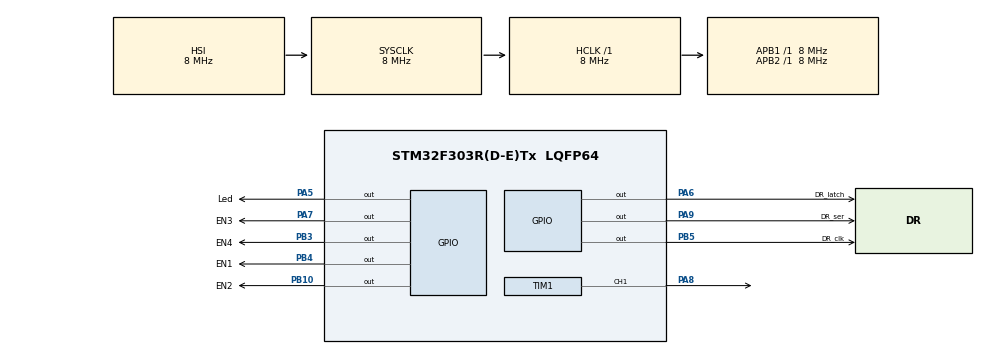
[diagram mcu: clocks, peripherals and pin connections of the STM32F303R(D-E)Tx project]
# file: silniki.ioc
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Mcu.Family=STM32F3
Mcu.Name=STM32F303R(D-E)Tx
Mcu.Package=LQFP64
NVIC.PriorityGroup=NVIC_PRIORITYGROUP_4
PA5.GPIO_Label=Led
PA5.Signal=GPIO_Output
PA6.GPIO_Label=DR_latch
PA6.Signal=GPIO_Output
PA7.GPIO_Label=EN3
PA7.Signal=GPIO_Output
PA8.Signal=S_TIM1_CH1
PA9.GPIO_Label=DR_ser
PA9.Signal=GPIO_Output
PB10.GPIO_Label=EN2
PB10.Signal=GPIO_Output
PB3.GPIO_Label=EN4
PB3.Signal=GPIO_Output
PB4.GPIO_Label=EN1
PB4.Signal=GPIO_Output
PB5.GPIO_Label=DR_clk
PB5.Signal=GPIO_Output
ProjectManager.HeapSize=0x200
ProjectManager.StackSize=0x400
ProjectManager.TargetToolchain=STM32CubeIDE
RCC.AHBFreq_Value=8000000
RCC.APB1Freq_Value=8000000
RCC.APB1TimFreq_Value=8000000
RCC.APB2Freq_Value=8000000
RCC.APB2TimFreq_Value=8000000
RCC.CortexFreq_Value=8000000
RCC.HCLKFreq_Value=8000000
RCC.HSE_VALUE=8000000
RCC.HSI_VALUE=8000000
RCC.LSE_VALUE=32768
RCC.PLLMUL=RCC_PLL_MUL4
RCC.SYSCLKFreq_VALUE=8000000
RCC.USBFreq_Value=32000000
SH.S_TIM1_CH1.0=TIM1_CH1,Output Compare1 CH1
TIM1.Channel-Output\ Compare1\ CH1=TIM_CHANNEL_1
TIM1.Prescaler=4
VP_TIM1_VS_ClockSourceINT.Mode=Internal
board=custom

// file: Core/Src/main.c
/* USER CODE BEGIN Header */
/**
  ******************************************************************************
  * @file           : main.c
  * @brief          : Main program body
  ******************************************************************************
  * @attention
  *
  * Copyright (c) 2025 STMicroelectronics.
  * All rights reserved.
  *
  * This software is licensed under terms that can be found in the LICENSE file
  * in the root directory of this software component.
  * If no LICENSE file comes with this software, it is provided AS-IS.
  *
  ******************************************************************************
  */
/* USER CODE END Header */
#include "main.h"

/* USER CODE BEGIN Includes */
#include "stm32f3xx_it.h"
/* USER CODE END Includes */

TIM_HandleTypeDef htim1;

void SystemClock_Config(void);
static void MX_GPIO_Init(void);
static void MX_TIM1_Init(void);
/* USER CODE BEGIN PFP */
void MotorPow(uint8_t P){
	if(P<101 ){
		TIM1->CCR1 = 100-P;

	}
}

/* 8-bit

Motpr	3a |	2a |	1a |	1b |	2b |	4a |	3b |	4b
-----------------------------------------------------------------------
np.		1  |	 1 |	 1 |	 0 |	 0 |	 1 |	 0 |	 0		= 0xE4 lub 228  silniki krecą się w jedną stronę

	0xE4 - do przodu, 0x1B - do tyłu, 0xA9 - obrót w lewo, 0x56 - obrót w prawo, 0x9C - w lewo, 0x63 - w prawo
*/
void ustawKier(uint8_t data){
	for(int i = 0; i < 8; i++){

		HAL_GPIO_WritePin(DR_clk_GPIO_Port, DR_clk_Pin, 0);
		HAL_GPIO_WritePin(DR_ser_GPIO_Port, DR_ser_Pin, data & ( 1 << i));
		HAL_GPIO_WritePin(DR_clk_GPIO_Port, DR_clk_Pin, 1);
	}
}
/* USER CODE END PFP */

int main(void)
{

  /* MCU Configuration--------------------------------------------------------*/

  /* Reset of all peripherals, Initializes the Flash interface and the Systick. */
  HAL_Init();

  /* Configure the system clock */
  SystemClock_Config();

  /* Initialize all configured peripherals */
  MX_GPIO_Init();
  MX_TIM1_Init();
  /* USER CODE BEGIN 2 */
  HAL_TIM_PWM_Start(&htim1, TIM_CHANNEL_1);

  /* USER CODE END 2 */

  /* Infinite loop */
  /* USER CODE BEGIN WHILE */

  HAL_GPIO_WritePin(DR_latch_GPIO_Port, DR_latch_Pin, 0);
  ustawKier(0x00);
  HAL_GPIO_WritePin(DR_latch_GPIO_Port, DR_latch_Pin, 1);

  MotorPow(80);

  HAL_GPIO_WritePin(EN1_GPIO_Port, EN1_Pin, 1);
  HAL_GPIO_WritePin(EN2_GPIO_Port, EN2_Pin, 1);
  HAL_GPIO_WritePin(EN3_GPIO_Port, EN3_Pin, 1);
  HAL_GPIO_WritePin(EN4_GPIO_Port, EN4_Pin, 1);

uint8_t sekwencja[6] = {0xE4, 0x1B, 0xA9, 0x56, 0x9C, 0x63};
uint8_t stan=0;
  while (1)
  {
	  if(stan<3){
		  for(int i=0; i<6; i++){
			  HAL_GPIO_WritePin(DR_latch_GPIO_Port, DR_latch_Pin, 0);
			  ustawKier(sekwencja[i]);
			  HAL_GPIO_WritePin(DR_latch_GPIO_Port, DR_latch_Pin, 1);
			  HAL_Delay(2500);
		  }
		  stan++;
	  }else{
		  HAL_GPIO_WritePin(DR_latch_GPIO_Port, DR_latch_Pin, 0);
		  ustawKier(0x00);
		  HAL_GPIO_WritePin(DR_latch_GPIO_Port, DR_latch_Pin, 1);

	  }

    /* USER CODE END WHILE */

  }
}

void SystemClock_Config(void)
{
  RCC_OscInitTypeDef RCC_OscInitStruct = {0};
  RCC_ClkInitTypeDef RCC_ClkInitStruct = {0};
  RCC_PeriphCLKInitTypeDef PeriphClkInit = {0};

  /** Initializes the RCC Oscillators according to the specified parameters
  * in the RCC_OscInitTypeDef structure.
  */
  RCC_OscInitStruct.OscillatorType = RCC_OSCILLATORTYPE_HSI;
  RCC_OscInitStruct.HSIState = RCC_HSI_ON;
  RCC_OscInitStruct.HSICalibrationValue = RCC_HSICALIBRATION_DEFAULT;
  RCC_OscInitStruct.PLL.PLLState = RCC_PLL_NONE;
  if (HAL_RCC_OscConfig(&RCC_OscInitStruct) != HAL_OK)
  {
    Error_Handler();
  }

  /** Initializes the CPU, AHB and APB buses clocks
  */
  RCC_ClkInitStruct.ClockType = RCC_CLOCKTYPE_HCLK|RCC_CLOCKTYPE_SYSCLK
                              |RCC_CLOCKTYPE_PCLK1|RCC_CLOCKTYPE_PCLK2;
  RCC_ClkInitStruct.SYSCLKSource = RCC_SYSCLKSOURCE_HSI;
  RCC_ClkInitStruct.AHBCLKDivider = RCC_SYSCLK_DIV1;
  RCC_ClkInitStruct.APB1CLKDivider = RCC_HCLK_DIV1;
  RCC_ClkInitStruct.APB2CLKDivider = RCC_HCLK_DIV1;

  if (HAL_RCC_ClockConfig(&RCC_ClkInitStruct, FLASH_LATENCY_0) != HAL_OK)
  {
    Error_Handler();
  }
  PeriphClkInit.PeriphClockSelection = RCC_PERIPHCLK_TIM1;
  PeriphClkInit.Tim1ClockSelection = RCC_TIM1CLK_HCLK;
  if (HAL_RCCEx_PeriphCLKConfig(&PeriphClkInit) != HAL_OK)
  {
    Error_Handler();
  }
}

static void MX_TIM1_Init(void)
{

  TIM_ClockConfigTypeDef sClockSourceConfig = {0};
  TIM_MasterConfigTypeDef sMasterConfig = {0};
  TIM_OC_InitTypeDef sConfigOC = {0};
  TIM_BreakDeadTimeConfigTypeDef sBreakDeadTimeConfig = {0};

  htim1.Instance = TIM1;
  htim1.Init.Prescaler = 4;
  htim1.Init.CounterMode = TIM_COUNTERMODE_UP;
  htim1.Init.Period = 65535;
  htim1.Init.ClockDivision = TIM_CLOCKDIVISION_DIV1;
  htim1.Init.RepetitionCounter = 0;
  htim1.Init.AutoReloadPreload = TIM_AUTORELOAD_PRELOAD_DISABLE;
  if (HAL_TIM_Base_Init(&htim1) != HAL_OK)
  {
    Error_Handler();
  }
  sClockSourceConfig.ClockSource = TIM_CLOCKSOURCE_INTERNAL;
  if (HAL_TIM_ConfigClockSource(&htim1, &sClockSourceConfig) != HAL_OK)
  {
    Error_Handler();
  }
  if (HAL_TIM_OC_Init(&htim1) != HAL_OK)
  {
    Error_Handler();
  }
  sMasterConfig.MasterOutputTrigger = TIM_TRGO_RESET;
  sMasterConfig.MasterOutputTrigger2 = TIM_TRGO2_RESET;
  sMasterConfig.MasterSlaveMode = TIM_MASTERSLAVEMODE_DISABLE;
  if (HAL_TIMEx_MasterConfigSynchronization(&htim1, &sMasterConfig) != HAL_OK)
  {
    Error_Handler();
  }
  sConfigOC.OCMode = TIM_OCMODE_TIMING;
  sConfigOC.Pulse = 0;
  sConfigOC.OCPolarity = TIM_OCPOLARITY_HIGH;
  sConfigOC.OCNPolarity = TIM_OCNPOLARITY_HIGH;
  sConfigOC.OCFastMode = TIM_OCFAST_DISABLE;
  sConfigOC.OCIdleState = TIM_OCIDLESTATE_RESET;
  sConfigOC.OCNIdleState = TIM_OCNIDLESTATE_RESET;
  if (HAL_TIM_OC_ConfigChannel(&htim1, &sConfigOC, TIM_CHANNEL_1) != HAL_OK)
  {
    Error_Handler();
  }
  sBreakDeadTimeConfig.OffStateRunMode = TIM_OSSR_DISABLE;
  sBreakDeadTimeConfig.OffStateIDLEMode = TIM_OSSI_DISABLE;
  sBreakDeadTimeConfig.LockLevel = TIM_LOCKLEVEL_OFF;
  sBreakDeadTimeConfig.DeadTime = 0;
  sBreakDeadTimeConfig.BreakState = TIM_BREAK_DISABLE;
  sBreakDeadTimeConfig.BreakPolarity = TIM_BREAKPOLARITY_HIGH;
  sBreakDeadTimeConfig.BreakFilter = 0;
  sBreakDeadTimeConfig.Break2State = TIM_BREAK2_DISABLE;
  sBreakDeadTimeConfig.Break2Polarity = TIM_BREAK2POLARITY_HIGH;
  sBreakDeadTimeConfig.Break2Filter = 0;
  sBreakDeadTimeConfig.AutomaticOutput = TIM_AUTOMATICOUTPUT_DISABLE;
  if (HAL_TIMEx_ConfigBreakDeadTime(&htim1, &sBreakDeadTimeConfig) != HAL_OK)
  {
    Error_Handler();
  }
  HAL_TIM_MspPostInit(&htim1);

}

static void MX_GPIO_Init(void)
{
  GPIO_InitTypeDef GPIO_InitStruct = {0};

  /* GPIO Ports Clock Enable */
  __HAL_RCC_GPIOA_CLK_ENABLE();
  __HAL_RCC_GPIOB_CLK_ENABLE();

  /*Configure GPIO pin Output Level */
  HAL_GPIO_WritePin(GPIOA, Led_Pin|DR_latch_Pin|EN3_Pin|DR_ser_Pin, GPIO_PIN_RESET);

  /*Configure GPIO pin Output Level */
  HAL_GPIO_WritePin(GPIOB, EN2_Pin|EN4_Pin|EN1_Pin|DR_clk_Pin, GPIO_PIN_RESET);

  /*Configure GPIO pins : Led_Pin DR_latch_Pin EN3_Pin DR_ser_Pin */
  GPIO_InitStruct.Pin = Led_Pin|DR_latch_Pin|EN3_Pin|DR_ser_Pin;
  GPIO_InitStruct.Mode = GPIO_MODE_OUTPUT_PP;
  GPIO_InitStruct.Pull = GPIO_NOPULL;
  GPIO_InitStruct.Speed = GPIO_SPEED_FREQ_LOW;
  HAL_GPIO_Init(GPIOA, &GPIO_InitStruct);

  /*Configure GPIO pins : EN2_Pin EN4_Pin EN1_Pin DR_clk_Pin */
  GPIO_InitStruct.Pin = EN2_Pin|EN4_Pin|EN1_Pin|DR_clk_Pin;
  GPIO_InitStruct.Mode = GPIO_MODE_OUTPUT_PP;
  GPIO_InitStruct.Pull = GPIO_NOPULL;
  GPIO_InitStruct.Speed = GPIO_SPEED_FREQ_LOW;
  HAL_GPIO_Init(GPIOB, &GPIO_InitStruct);

}

void Error_Handler(void)
{
  __disable_irq();
  while (1)
  {
  }
}
